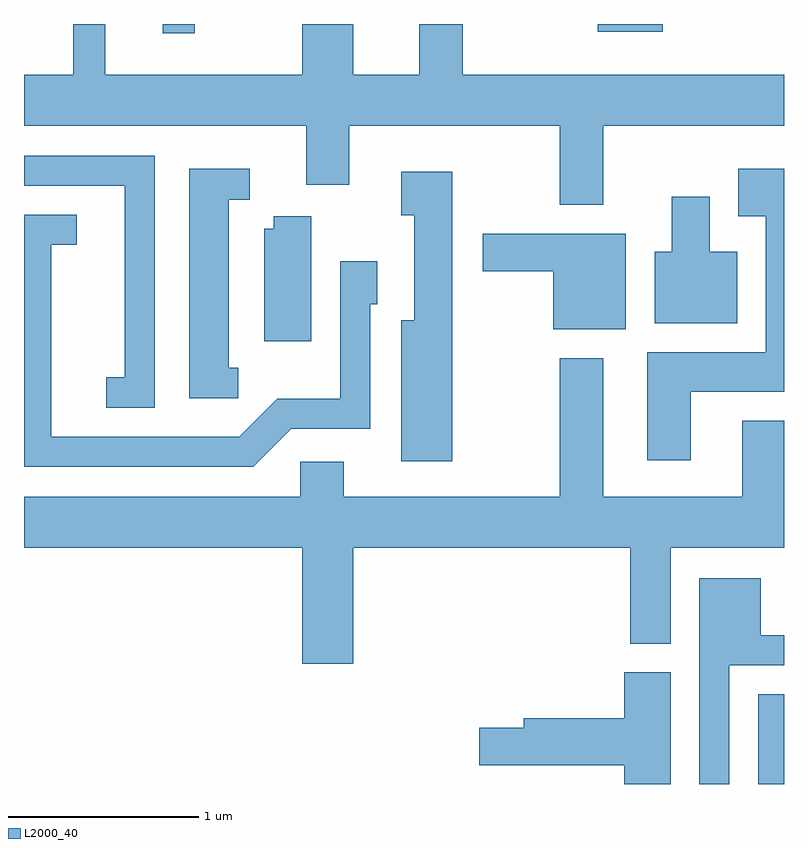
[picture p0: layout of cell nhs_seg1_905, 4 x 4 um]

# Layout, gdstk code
import gdstk
lib = gdstk.Library(unit=1e-6, precision=1e-09)
def R(c, l, rs):  # rectangles x0, y0, x1, y1
    for r in rs: c.add(gdstk.rectangle(r[:2], r[2:], *l))
def P(c, l, *ps):  # polygons
    for p in ps: c.add(gdstk.Polygon(p, *l))
L2000_40 = (2000, 40)

nhs_seg1_905 = lib.new_cell('nhs_seg1_905')
R(nhs_seg1_905, L2000_40, [(217.476,851.712,217.611,852.184), (214.341,855.663,214.509,855.712), (216.631,855.671,216.974,855.712)])
P(nhs_seg1_905, L2000_40, [(216.659,855.176),(217.611,855.176),(217.611,855.444),(215.919,855.444),(215.919,855.712),(215.691,855.712),(215.691,855.444),(215.344,855.444),(215.344,855.712),(215.076,855.712),(215.076,855.444),(214.039,855.444),(214.039,855.712),(213.871,855.712),(213.871,855.444),(213.611,855.444),(213.611,855.176),(215.096,855.176),(215.096,854.866),(215.324,854.866),(215.324,855.176),(216.431,855.176),(216.431,854.761),(216.659,854.761)],
  [(214.299,855.019),(213.611,855.019),(213.611,854.861),(214.141,854.861),(214.141,853.854),(214.043,853.854),(214.043,853.691),(214.299,853.691)],
  [(214.738,853.904),(214.689,853.904),(214.689,854.786),(214.798,854.786),(214.798,854.949),(214.481,854.949),(214.481,853.741),(214.738,853.741)],
  [(217.119,853.776),(217.611,853.776),(217.611,854.949),(217.371,854.949),(217.371,854.701),(217.516,854.701),(217.516,853.984),(216.891,853.984),(216.891,853.416),(217.119,853.416)],
  [(215.864,854.934),(215.596,854.934),(215.596,854.706),(215.666,854.706),(215.666,854.154),(215.596,854.154),(215.596,853.411),(215.864,853.411)],
  [(217.364,854.514),(217.219,854.514),(217.219,854.804),(217.021,854.804),(217.021,854.514),(216.931,854.514),(216.931,854.136),(217.364,854.136)],
  [(215.017,853.581),(215.434,853.581),(215.434,854.236),(215.469,854.236),(215.469,854.464),(215.276,854.464),(215.276,853.739),(214.944,853.739),(214.744,853.539),(213.754,853.539),(213.754,854.551),(213.888,854.551),(213.888,854.709),(213.611,854.709),(213.611,853.381),(214.817,853.381)],
  [(215.124,854.699),(214.926,854.699),(214.926,854.634),(214.876,854.634),(214.876,854.041),(215.124,854.041)],
  [(216.779,854.609),(216.026,854.609),(216.026,854.411),(216.396,854.411),(216.396,854.106),(216.779,854.106)],
  [(215.344,852.956),(216.801,852.956),(216.801,852.451),(217.014,852.451),(217.014,852.956),(217.611,852.956),(217.611,853.624),(217.391,853.624),(217.391,853.224),(216.659,853.224),(216.659,853.954),(216.431,853.954),(216.431,853.224),(215.294,853.224),(215.294,853.409),(215.066,853.409),(215.066,853.224),(213.611,853.224),(213.611,852.956),(215.076,852.956),(215.076,852.346),(215.344,852.346)],
  [(217.324,852.336),(217.611,852.336),(217.611,852.494),(217.489,852.494),(217.489,852.794),(217.166,852.794),(217.166,851.712),(217.324,851.712)],
  [(217.014,852.299),(216.771,852.299),(216.771,852.059),(216.241,852.059),(216.241,852.009),(216.006,852.009),(216.006,851.811),(216.771,851.811),(216.771,851.712),(217.014,851.712)])

lib.write_gds('nhs_seg1_905.gds')
